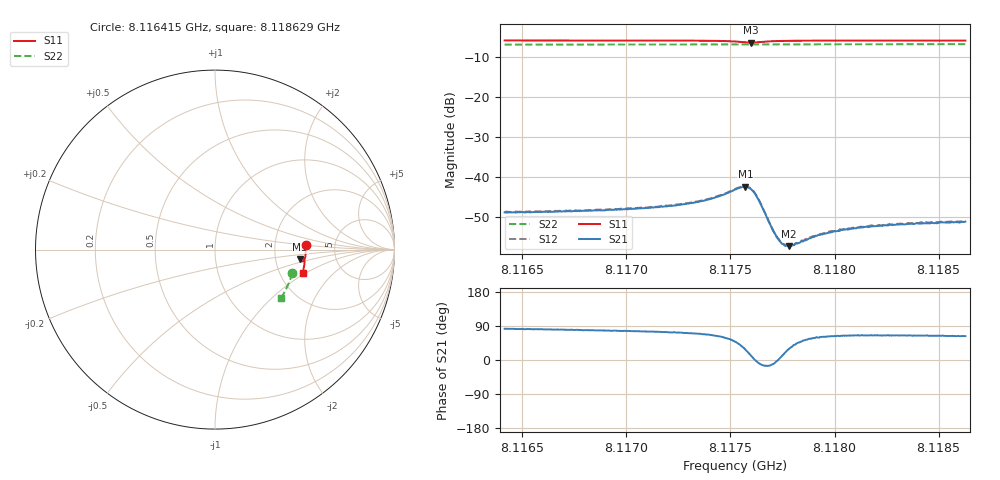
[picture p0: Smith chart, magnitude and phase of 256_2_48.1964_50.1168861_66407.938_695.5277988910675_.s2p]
#  HZ  S  RI  R  50.00
! Rohde & Schwarz Vector Network Analyzer
! Rohde-Schwarz,ZNB20-2Port,1311601062101988,3.16
! Created: UTC 3/20/2024, 11:47:34 AM
! freq[Hz]  re:S11  im:S11  re:S21  im:S21  re:S12  im:S12  re:S22  im:S22
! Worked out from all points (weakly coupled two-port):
!   401 points, 8.116415 GHz to 8.118629 GHz, reference 50 ohm
!   highest |S21| = -42.44 dB at 8.117572 GHz (marker M1); lowest = -57.3 dB at 8.117782 GHz (marker M2)
!   lowest |S11| = -6.4 dB at 8.1176 GHz (marker M3), VSWR 2.83, Z = 138 - j19.4 ohm
!   |S11| at or under -10 dB: nowhere
!   |S22| runs from -6.9 to -6.8 dB; largest |S21 - S12| = 0.00021
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8.1164154e9  0.5061 0.0274  0.000483 0.00356  0.000519 0.0036  0.4303 -0.13
8.1167861e9  0.5063 -0.00101  0.00071 0.00368  0.0008 0.0037  0.4231 -0.1545
8.1171569e9  0.5045 -0.0303  0.00114 0.00402  0.00119 0.0041  0.4145 -0.179
8.1173118e9  0.5022 -0.0439  0.00155 0.00443  0.00165 0.00448  0.4104 -0.189
8.1173892e9  0.5 -0.0513  0.00203 0.00477  0.00206 0.00484  0.4081 -0.1941
8.1174667e9  0.4955 -0.0597  0.00301 0.00518  0.00312 0.00526  0.4058 -0.1992
8.117522e9  0.4878 -0.0649  0.00458 0.00522  0.00471 0.00522  0.4039 -0.2028
8.1175718e9  0.4769 -0.0621  0.00669 0.0035  0.00679 0.0035  0.4019 -0.2055
8.1175995e9  0.4741 -0.0543  0.00687 0.00134  0.007 0.00129  0.4014 -0.2067
8.1176161e9  0.4761 -0.0499  0.00625 0.000123  0.00637 7.95e-05  0.401 -0.2076
8.1176327e9  0.4798 -0.0468  0.00525 -0.000648  0.00534 -0.000687  0.4008 -0.2083
8.1177046e9  0.4939 -0.0509  0.00209 -0.000392  0.00213 -0.000484  0.3992 -0.2131
8.1177268e9  0.4958 -0.0539  0.00171 -3.92e-05  0.00172 -8.36e-05  0.3986 -0.2145
8.1177378e9  0.4966 -0.0553  0.00155 0.000136  0.00157 9.79e-05  0.3983 -0.2154
8.1177544e9  0.4973 -0.0575  0.00139 0.00036  0.00141 0.000328  0.3979 -0.2164
8.1177821e9  0.4981 -0.0608  0.00118 0.000677  0.00123 0.000662  0.3969 -0.2183
8.1178153e9  0.4986 -0.0646  0.00108 0.000997  0.00113 0.000977  0.3959 -0.2203
8.1178928e9  0.4987 -0.0724  0.000968 0.00148  0.000994 0.0015  0.3935 -0.2253
8.1179813e9  0.498 -0.0805  0.000926 0.0018  0.000989 0.00183  0.3906 -0.2309
8.1180421e9  0.4974 -0.0856  0.000937 0.00197  0.001 0.00199  0.3887 -0.2346
8.1182635e9  0.4942 -0.1032  0.00108 0.00227  0.00109 0.00234  0.3808 -0.2482
8.1186286e9  0.4877 -0.1303  0.00126 0.00246  0.00129 0.00246  0.3673 -0.2699
